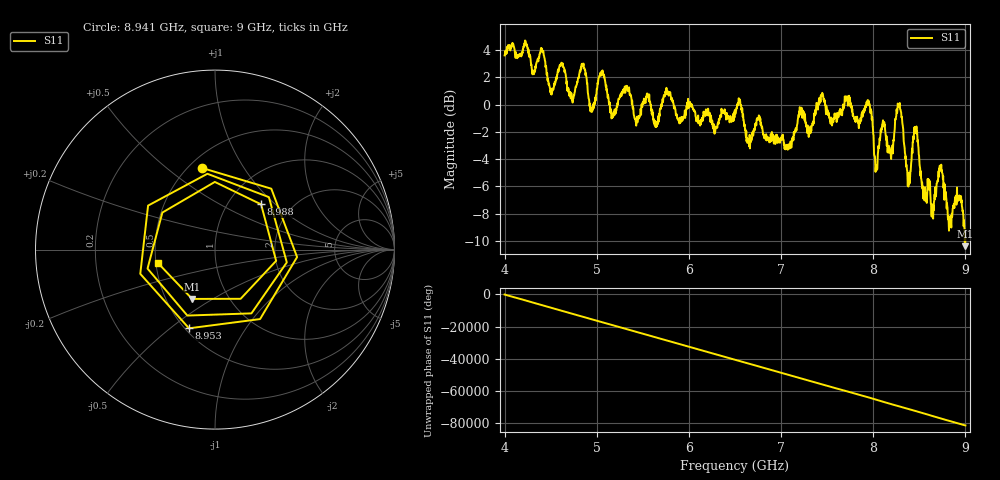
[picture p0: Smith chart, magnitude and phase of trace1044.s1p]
! Created with skrf 1.8.0 (http://scikit-rf.org).
# Hz S RI R 50.0
!freq ReS11 ImS11
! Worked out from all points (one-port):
!   1601 points, 4 GHz to 9 GHz, reference 50 ohm
!   lowest |S11| = -10.4 dB at 8.997 GHz (marker M1), VSWR 1.87, Z = 33.7 - j20.4 ohm
!   |S11| at or under -10 dB: 8.993399 GHz to 8.998746 GHz (5.346 MHz wide, 0.0594 % of centre)
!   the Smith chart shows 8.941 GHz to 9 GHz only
!   S11 on the Smith chart (normalised r, x): 8.941 GHz: 0.58, +0.67; 8.953 GHz: 0.52, -0.58; 8.988 GHz: 1.41, +0.82; 9 GHz: 0.51, -0.09
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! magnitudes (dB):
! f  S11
! 4 GHz  3.6
! 4.406 GHz  4.1
! 4.509 GHz  0.7
! 4.625 GHz  2.9
! 4.731 GHz  0.3
! 4.859 GHz  2.7
! 4.947 GHz  -0.5
! 5.05 GHz  2.4
! 5.169 GHz  -1.0
! 5.25 GHz  0.6
! 5.875 GHz  -1.0
! 6.5 GHz  -0.4
! 7.125 GHz  -2.5
! 7.434 GHz  0.6
! 7.75 GHz  0.1
! 7.956 GHz  0.1
! 8.034 GHz  -4.4
! 8.288 GHz  0.1
! 8.375 GHz  -6.0
! 8.459 GHz  -2.1
! 8.559 GHz  -6.6
! 8.734 GHz  -4.8
! 8.831 GHz  -8.7
! 8.941 GHz  -6.7
! 8.953 GHz  -6.7
! 8.988 GHz  -8.9
! 8.997 GHz  -10.4
! 9 GHz  -9.7
